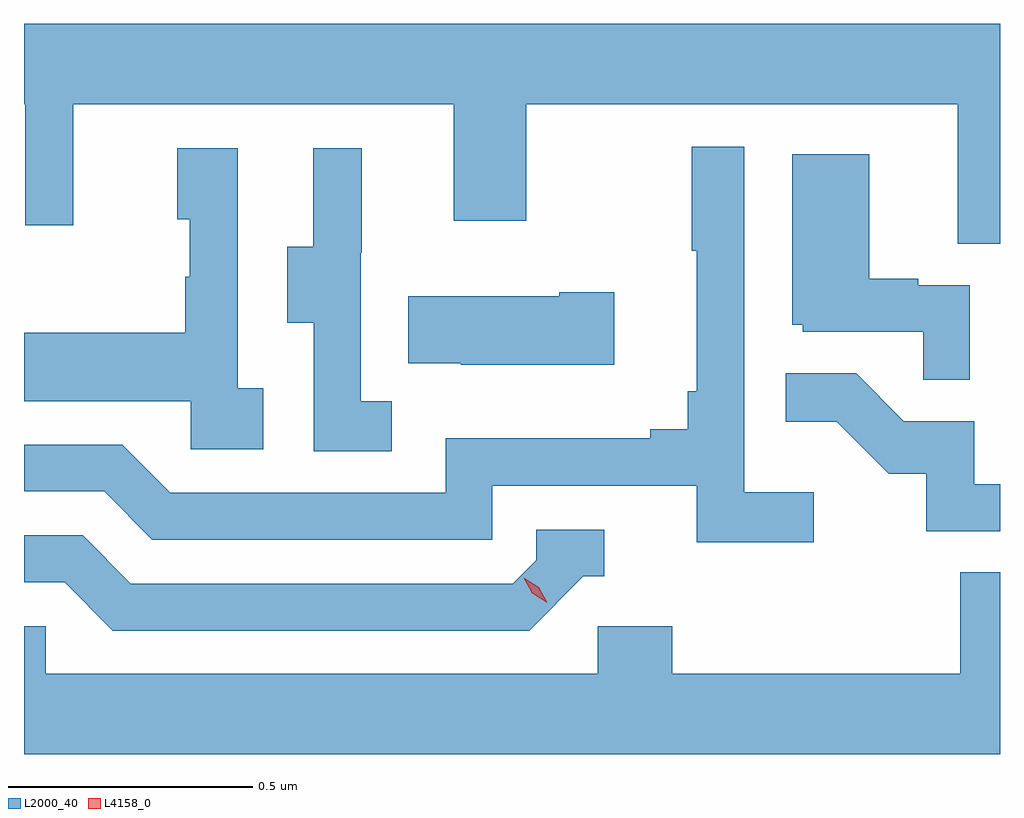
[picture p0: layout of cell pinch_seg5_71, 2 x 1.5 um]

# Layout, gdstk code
import gdstk
lib = gdstk.Library(unit=1e-6, precision=1e-09)
def P(c, l, *ps):  # polygons
    for p in ps: c.add(gdstk.Polygon(p, *l))
L2000_40 = (2000, 40)
L4158_0 = (4158, 0)

pinch_seg5_71 = lib.new_cell('pinch_seg5_71')
P(pinch_seg5_71, L2000_40, [(1058.432,899.548),(1056.432,899.548),(1056.432,899.384),(1056.435,899.384),(1056.435,899.136),(1056.533,899.136),(1056.533,899.384),(1057.313,899.384),(1057.313,899.145),(1057.461,899.145),(1057.461,899.384),(1058.345,899.384),(1058.345,899.098),(1058.432,899.098)],
  [(1058.05,898.588),(1057.908,898.588),(1057.908,899.296),(1057.8,899.296),(1057.8,899.083),(1057.811,899.083),(1057.811,898.795),(1057.792,898.795),(1057.792,898.718),(1057.715,898.718),(1057.715,898.699),(1057.296,898.699),(1057.296,898.587),(1056.732,898.587),(1056.633,898.686),(1056.432,898.686),(1056.432,898.59),(1056.596,898.59),(1056.695,898.491),(1057.392,898.491),(1057.392,898.602),(1057.811,898.602),(1057.811,898.486),(1058.05,898.486)],
  [(1057.186,898.775),(1057.122,898.775),(1057.122,899.079),(1057.124,899.079),(1057.124,899.293),(1057.025,899.293),(1057.025,899.091),(1056.971,899.091),(1056.971,898.936),(1057.026,898.936),(1057.026,898.672),(1057.186,898.672)],
  [(1056.922,898.802),(1056.87,898.802),(1056.87,899.293),(1056.746,899.293),(1056.746,899.148),(1056.772,899.148),(1056.772,899.03),(1056.762,899.03),(1056.762,898.915),(1056.432,898.915),(1056.432,898.775),(1056.774,898.775),(1056.774,898.677),(1056.922,898.677)],
  [(1058.37,899.013),(1058.264,899.013),(1058.264,899.026),(1058.164,899.026),(1058.164,899.281),(1058.006,899.281),(1058.006,898.932),(1058.028,898.932),(1058.028,898.917),(1058.275,898.917),(1058.275,898.819),(1058.37,898.819)],
  [(1057.642,898.998),(1057.529,898.998),(1057.529,898.99),(1057.219,898.99),(1057.219,898.853),(1057.327,898.853),(1057.327,898.85),(1057.642,898.85)],
  [(1058.432,898.605),(1058.379,898.605),(1058.379,898.734),(1058.235,898.734),(1058.137,898.832),(1057.993,898.832),(1057.993,898.733),(1058.097,898.733),(1058.204,898.626),(1058.281,898.626),(1058.281,898.509),(1058.432,898.509)],
  [(1057.578,898.416),(1057.621,898.416),(1057.621,898.512),(1057.482,898.512),(1057.482,898.449),(1057.434,898.401),(1056.651,898.401),(1056.552,898.5),(1056.432,898.5),(1056.432,898.404),(1056.515,898.404),(1056.614,898.305),(1057.467,898.305)],
  [(1058.432,898.424),(1058.351,898.424),(1058.351,898.216),(1057.76,898.216),(1057.76,898.314),(1057.608,898.314),(1057.608,898.216),(1056.477,898.216),(1056.477,898.314),(1056.432,898.314),(1056.432,898.052),(1058.432,898.052)])
P(pinch_seg5_71, L4158_0, [(1057.504,898.362),(1057.473,898.381),(1057.456,898.413),(1057.456,898.413),(1057.456,898.413),(1057.487,898.394),(1057.504,898.362),(1057.504,898.362)])

lib.write_gds('pinch_seg5_71.gds')
